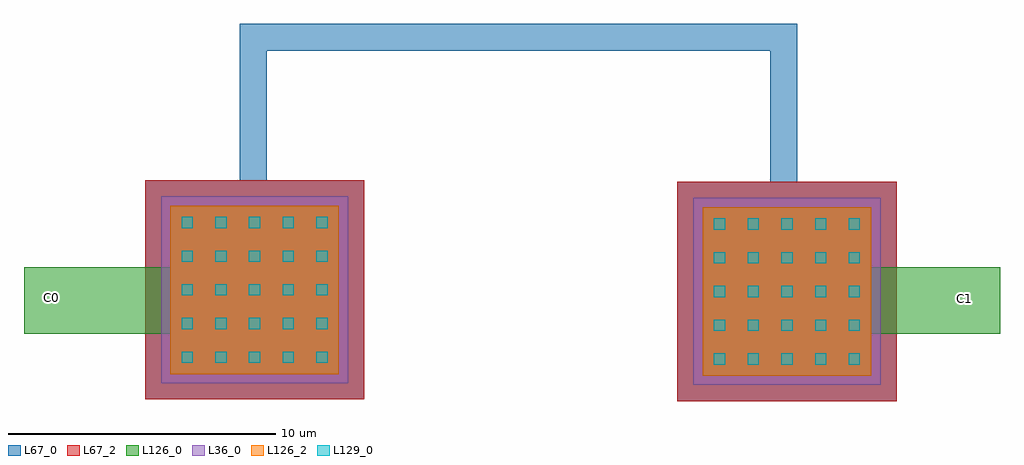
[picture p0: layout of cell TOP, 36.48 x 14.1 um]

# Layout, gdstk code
import gdstk
lib = gdstk.Library(unit=1e-6, precision=1e-09)
def R(c, l, rs):  # rectangles x0, y0, x1, y1
    for r in rs: c.add(gdstk.rectangle(r[:2], r[2:], *l))
def A(c, l, x, y, w, h, nx, ny, dx, dy):  # array of equal rectangles
    R(c, l, [(x+i*dx, y+j*dy, x+i*dx+w, y+j*dy+h) for i in range(nx) for j in range(ny)])
L36_0 = (36, 0)
L67_0 = (67, 0)
L67_2 = (67, 2)
L126_0 = (126, 0)
L126_2 = (126, 2)
L129_0 = (129, 0)

cmim_1 = lib.new_cell('cmim$1')
R(cmim_1, L36_0, [(0,0,7,7)])
R(cmim_1, L67_0, [(-0.6,-0.6,7.6,7.6)])
R(cmim_1, L126_0, [(0.345,0.345,6.645,6.645)])
A(cmim_1, L129_0, 0.765, 0.765, 0.42, 0.42, 5, 5, 1.26, 1.26)

top = lib.new_cell('TOP')
R(top, L67_2, [(-36.65,-94.99,-28.455,-86.79), (-56.55,-94.93,-48.35,-86.73)])
R(top, L126_0, [(-61.075,-92.475,-54.425,-89.985), (-31.24,-92.475,-24.59,-89.985)])
R(top, L126_2, [(-35.705,-94.045,-29.405,-87.745), (-55.605,-93.985,-49.305,-87.685)])
top.add(gdstk.FlexPath([(-32.672,-87.35),(-32.672,-81.395),(-52.505,-81.395),(-52.505,-87.35)], 1, ends="flush", simple_path=True, layer=67, datatype=0))  # L67_0
top.add(gdstk.Reference(cmim_1, (-55.95,-94.33)))
top.add(gdstk.Reference(cmim_1, (-36.05,-94.39)))
top.add(gdstk.Label('C0', (-60.06,-91.13), layer=126, texttype=1))
top.add(gdstk.Label('C1', (-25.9,-91.175), layer=126, texttype=1))

lib.write_gds('TOP.gds')
